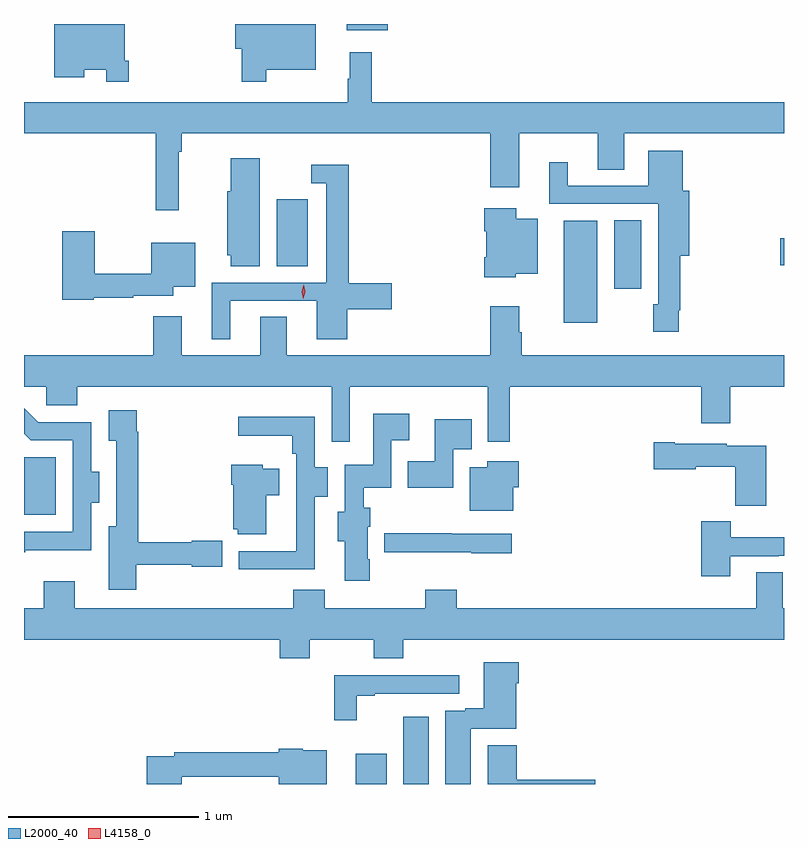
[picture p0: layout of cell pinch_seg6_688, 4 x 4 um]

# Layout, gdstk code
import gdstk
lib = gdstk.Library(unit=1e-6, precision=1e-09)
def R(c, l, rs):  # rectangles x0, y0, x1, y1
    for r in rs: c.add(gdstk.rectangle(r[:2], r[2:], *l))
def P(c, l, *ps):  # polygons
    for p in ps: c.add(gdstk.Polygon(p, *l))
L2000_40 = (2000, 40)
L4158_0 = (4158, 0)

pinch_seg6_688 = lib.new_cell('pinch_seg6_688')
R(pinch_seg6_688, L2000_40, [(396.203,945.244,396.364,945.403), (396.452,945.244,396.586,945.598), (394.456,946.661,394.624,946.963), (397.298,947.672,397.474,948.208), (397.562,947.85,397.705,948.212), (395.786,947.968,395.95,948.322), (398.436,947.974,398.456,948.116), (396.155,949.211,396.37,949.244)])
P(pinch_seg6_688, L2000_40, [(395.731,949.004),(395.992,949.004),(395.992,949.244),(395.568,949.244),(395.568,949.115),(395.602,949.115),(395.602,948.939),(395.731,948.939)],
  [(395.006,949.051),(394.986,949.051),(394.986,949.244),(394.616,949.244),(394.616,948.965),(394.774,948.965),(394.774,949.004),(394.89,949.004),(394.89,948.939),(395.006,948.939)],
  [(395.27,948.572),(395.285,948.572),(395.285,948.668),(396.911,948.668),(396.911,948.384),(397.063,948.384),(397.063,948.668),(397.475,948.668),(397.475,948.478),(397.615,948.478),(397.615,948.668),(398.456,948.668),(398.456,948.832),(396.287,948.832),(396.287,949.096),(396.17,949.096),(396.17,948.956),(396.159,948.956),(396.159,948.832),(394.456,948.832),(394.456,948.668),(395.149,948.668),(395.149,948.264),(395.27,948.264)],
  [(397.903,947.737),(397.91,947.737),(397.91,948.023),(397.957,948.023),(397.957,948.367),(397.924,948.367),(397.924,948.577),(397.742,948.577),(397.742,948.393),(397.318,948.393),(397.318,948.517),(397.22,948.517),(397.22,948.297),(397.794,948.297),(397.794,947.769),(397.768,947.769),(397.768,947.625),(397.903,947.625)],
  [(395.698,948.538),(395.543,948.538),(395.543,948.363),(395.525,948.363),(395.525,948.027),(395.543,948.027),(395.543,947.968),(395.698,947.968)],
  [(395.542,947.787),(395.996,947.787),(395.996,947.586),(396.158,947.586),(396.158,947.744),(396.391,947.744),(396.391,947.879),(396.164,947.879),(396.164,948.502),(395.967,948.502),(395.967,948.405),(396.048,948.405),(396.048,947.883),(395.444,947.883),(395.444,947.586),(395.542,947.586)],
  [(397.044,947.93),(397.159,947.93),(397.159,948.22),(397.048,948.22),(397.048,948.274),(396.878,948.274),(396.878,948.152),(396.89,948.152),(396.89,948.016),(396.878,948.016),(396.878,947.912),(397.044,947.912)],
  [(394.824,947.802),(395.03,947.802),(395.03,947.814),(395.242,947.814),(395.242,947.861),(395.356,947.861),(395.356,948.094),(395.126,948.094),(395.126,947.93),(394.828,947.93),(394.828,948.154),(394.658,948.154),(394.658,947.794),(394.824,947.794)],
  [(395.699,947.702),(395.699,947.5),(395.287,947.5),(395.287,947.707),(395.135,947.707),(395.135,947.5),(394.456,947.5),(394.456,947.336),(394.572,947.336),(394.572,947.238),(394.736,947.238),(394.736,947.336),(396.075,947.336),(396.075,947.046),(396.171,947.046),(396.171,947.336),(396.897,947.336),(396.897,947.046),(397.013,947.046),(397.013,947.336),(398.021,947.336),(398.021,947.142),(398.173,947.142),(398.173,947.336),(398.456,947.336),(398.456,947.5),(397.076,947.5),(397.076,947.621),(397.063,947.621),(397.063,947.758),(396.911,947.758),(396.911,947.5),(395.839,947.5),(395.839,947.702)],
  [(394.463,946.475),(394.809,946.475),(394.809,946.724),(394.852,946.724),(394.852,946.888),(394.81,946.888),(394.81,947.148),(394.53,947.148),(394.456,947.222),(394.456,947.087),(394.491,947.052),(394.713,947.052),(394.713,946.572),(394.456,946.572),(394.456,946.464),(394.463,946.464)],
  [(395.046,946.399),(395.34,946.399),(395.34,946.388),(395.5,946.388),(395.5,946.525),(395.34,946.525),(395.34,946.517),(395.057,946.517),(395.057,947.099),(395.05,947.099),(395.05,947.212),(394.901,947.212),(394.901,947.051),(394.941,947.051),(394.941,946.6),(394.901,946.6),(394.901,946.266),(395.046,946.266)],
  [(396.277,946.426),(396.265,946.426),(396.265,946.598),(396.278,946.598),(396.278,946.698),(396.243,946.698),(396.243,946.802),(396.39,946.802),(396.39,947.054),(396.484,947.054),(396.484,947.194),(396.294,947.194),(396.294,946.924),(396.144,946.924),(396.144,946.677),(396.107,946.677),(396.107,946.522),(396.143,946.522),(396.143,946.314),(396.277,946.314)],
  [(395.985,946.756),(396.055,946.756),(396.055,946.911),(395.985,946.911),(395.985,947.176),(395.583,947.176),(395.583,947.078),(395.869,947.078),(395.869,946.982),(395.889,946.982),(395.889,946.667),(395.888,946.667),(395.888,946.47),(395.585,946.47),(395.585,946.374),(395.985,946.374)],
  [(396.714,947.006),(396.812,947.006),(396.812,947.164),(396.617,947.164),(396.617,946.942),(396.475,946.942),(396.475,946.802),(396.714,946.802)],
  [(398.362,947.023),(398.154,947.023),(398.154,947.035),(397.882,947.035),(397.882,947.043),(397.77,947.043),(397.77,946.901),(397.992,946.901),(397.992,946.913),(398.2,946.913),(398.2,946.709),(398.362,946.709)],
  [(397.03,946.806),(397.061,946.806),(397.061,946.942),(396.894,946.942),(396.894,946.912),(396.803,946.912),(396.803,946.682),(397.03,946.682)],
  [(395.731,946.763),(395.8,946.763),(395.8,946.903),(395.712,946.903),(395.712,946.924),(395.546,946.924),(395.546,946.82),(395.558,946.82),(395.558,946.584),(395.58,946.584),(395.58,946.559),(395.731,946.559)],
  [(398.173,946.443),(398.429,946.443),(398.429,946.446),(398.456,946.446),(398.456,946.543),(398.176,946.543),(398.176,946.627),(398.021,946.627),(398.021,946.338),(398.173,946.338)],
  [(397.024,946.56),(396.707,946.56),(396.707,946.563),(396.351,946.563),(396.351,946.463),(396.811,946.463),(396.811,946.459),(397.024,946.459)],
  [(395.961,946.004),(396.298,946.004),(396.298,945.905),(396.453,945.905),(396.453,946.004),(398.456,946.004),(398.456,946.168),(398.449,946.168),(398.449,946.358),(398.309,946.358),(398.309,946.168),(396.734,946.168),(396.734,946.267),(396.569,946.267),(396.569,946.168),(396.038,946.168),(396.038,946.267),(395.873,946.267),(395.873,946.168),(394.723,946.168),(394.723,946.312),(394.559,946.312),(394.559,946.168),(394.456,946.168),(394.456,946.004),(395.801,946.004),(395.801,945.905),(395.961,945.905)],
  [(396.808,945.534),(397.048,945.534),(397.048,945.773),(397.061,945.773),(397.061,945.886),(396.875,945.886),(396.875,945.643),(396.779,945.643),(396.779,945.63),(396.674,945.63),(396.674,945.244),(396.808,945.244)],
  [(396.207,945.708),(396.301,945.708),(396.301,945.72),(396.748,945.72),(396.748,945.816),(396.088,945.816),(396.088,945.579),(396.207,945.579)],
  [(397.462,945.266),(397.049,945.266),(397.049,945.449),(396.896,945.449),(396.896,945.244),(397.462,945.244)],
  [(395.285,945.282),(395.798,945.282),(395.798,945.244),(396.049,945.244),(396.049,945.421),(395.924,945.421),(395.924,945.429),(395.798,945.429),(395.798,945.41),(395.248,945.41),(395.248,945.39),(395.102,945.39),(395.102,945.244),(395.285,945.244)])
P(pinch_seg6_688, L4158_0, [(395.925,947.799),(395.925,947.799),(395.917,947.835),(395.928,947.871),(395.928,947.871),(395.928,947.871),(395.937,947.834),(395.926,947.799)])

lib.write_gds('pinch_seg6_688.gds')
